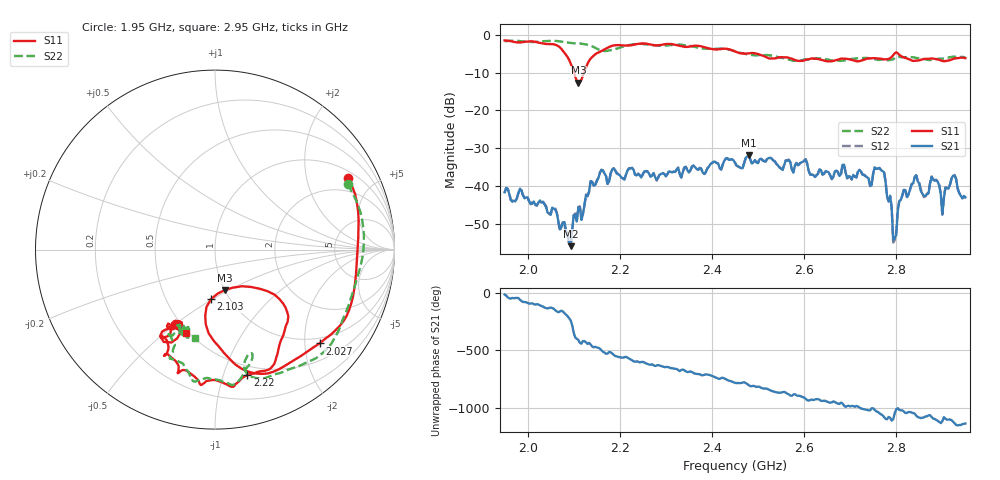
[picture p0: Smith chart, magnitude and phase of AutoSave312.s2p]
!Agilent N9923A: A.07.32
!Date: Thursday, 02 June 2016 23:50:24
!Model: N9923A
!Serial: MY52412257
!GPS Latitude:
!GPS Longitude:
!GPS TimeStamp: 0001-01-01 00:00:00Z
!GPS Seconds Since Last Read: 0
!CHECKSUM:0527523443
!Correction: S11(ON U)S21(ON U)S12(ON U)S22(ON U)
!S2P File: Measurements:S11,S21,S12,S22:
# Hz S DB R 50
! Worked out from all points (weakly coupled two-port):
!   301 points, 1.95 GHz to 2.95 GHz, reference 50 ohm
!   highest |S21| = -31.91 dB at 2.48 GHz (marker M1); lowest = -56.0 dB at 2.093 GHz (marker M2)
!   lowest |S11| = -12.7 dB at 2.11 GHz (marker M3), VSWR 1.60, Z = 50.3 - j23.9 ohm
!   |S11| at or under -10 dB: 2.1 GHz to 2.122 GHz (21.72 MHz wide, 1.03 % of centre)
!   |S22| runs from -6.9 to -1.5 dB; largest |S21 - S12| = 0.00057
!   S11 on the Smith chart (normalised r, x): 1.95 GHz: 1.29, +3.55; 2.027 GHz: 0.87, -2.33; 2.103 GHz: 0.82, -0.49; 2.22 GHz: 0.41, -1.20; 2.95 GHz: 0.49, -0.59
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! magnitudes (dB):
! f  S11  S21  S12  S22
! 1.95 GHz  -1.5  -41.7  -41.7  -1.7
! 2.027 GHz  -2.1  -43.9  -44.0  -1.8
! 2.093 GHz  -7.6  -56.0  -55.6  -2.1
! 2.103 GHz  -11.1  -47.6  -47.3  -2.3
! 2.11 GHz  -12.7  -45.7  -45.6  -2.3
! 2.12 GHz  -10.7  -47.6  -47.2  -2.4
! 2.16 GHz  -4.3  -35.7  -35.8  -4.1
! 2.22 GHz  -2.8  -35.4  -35.3  -2.7
! 2.287 GHz  -2.7  -37.0  -36.9  -2.9
! 2.453 GHz  -4.5  -34.6  -34.7  -4.5
! 2.48 GHz  -4.9  -31.9  -31.9  -5.3
! 2.62 GHz  -6.3  -37.1  -37.0  -6.3
! 2.763 GHz  -6.3  -35.2  -35.3  -6.6
! 2.783 GHz  -6.4  -44.2  -43.9  -6.7
! 2.79 GHz  -5.8  -45.9  -45.5  -6.6
! 2.793 GHz  -5.4  -54.3  -55.0  -6.5
! 2.807 GHz  -5.3  -44.0  -44.1  -5.9
! 2.843 GHz  -6.8  -37.2  -37.2  -6.1
! 2.89 GHz  -6.5  -38.9  -38.9  -6.3
! 2.9 GHz  -6.9  -47.6  -47.5  -6.3
! 2.923 GHz  -6.4  -37.3  -37.2  -5.8
! 2.95 GHz  -6.2  -43.0  -43.2  -5.9
